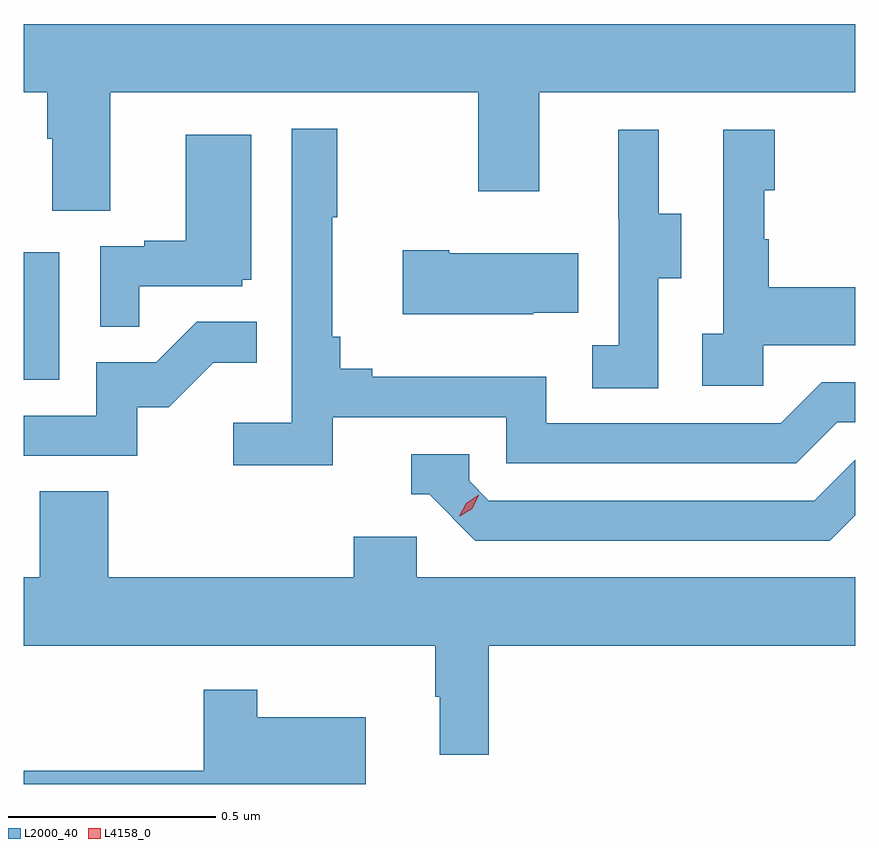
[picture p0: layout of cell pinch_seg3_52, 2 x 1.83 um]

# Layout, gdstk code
import gdstk
lib = gdstk.Library(unit=1e-6, precision=1e-09)
def R(c, l, rs):  # rectangles x0, y0, x1, y1
    for r in rs: c.add(gdstk.rectangle(r[:2], r[2:], *l))
def P(c, l, *ps):  # polygons
    for p in ps: c.add(gdstk.Polygon(p, *l))
L2000_40 = (2000, 40)
L4158_0 = (4158, 0)

pinch_seg3_52 = lib.new_cell('pinch_seg3_52')
R(pinch_seg3_52, L2000_40, [(1069.827,741.516,1069.912,741.823)])
P(pinch_seg3_52, L2000_40, [(1070.035,742.208),(1070.92,742.208),(1070.92,741.969),(1071.067,741.969),(1071.067,742.208),(1071.827,742.208),(1071.827,742.372),(1069.827,742.372),(1069.827,742.208),(1069.883,742.208),(1069.883,742.096),(1069.895,742.096),(1069.895,741.922),(1070.035,741.922)],
  [(1070.57,741.426),(1070.988,741.426),(1070.988,741.315),(1071.685,741.315),(1071.784,741.414),(1071.827,741.414),(1071.827,741.51),(1071.747,741.51),(1071.648,741.411),(1071.084,741.411),(1071.084,741.523),(1070.665,741.523),(1070.665,741.542),(1070.588,741.542),(1070.588,741.619),(1070.569,741.619),(1070.569,741.907),(1070.581,741.907),(1070.581,742.12),(1070.472,742.12),(1070.472,741.412),(1070.331,741.412),(1070.331,741.31),(1070.57,741.31)],
  [(1071.354,741.76),(1071.409,741.76),(1071.409,741.915),(1071.355,741.915),(1071.355,742.117),(1071.257,742.117),(1071.257,741.903),(1071.258,741.903),(1071.258,741.599),(1071.195,741.599),(1071.195,741.496),(1071.354,741.496)],
  [(1071.606,741.599),(1071.827,741.599),(1071.827,741.739),(1071.619,741.739),(1071.619,741.854),(1071.609,741.854),(1071.609,741.972),(1071.634,741.972),(1071.634,742.117),(1071.51,742.117),(1071.51,741.626),(1071.459,741.626),(1071.459,741.501),(1071.606,741.501)],
  [(1070.105,741.741),(1070.352,741.741),(1070.352,741.756),(1070.374,741.756),(1070.374,742.105),(1070.216,742.105),(1070.216,741.85),(1070.117,741.85),(1070.117,741.837),(1070.01,741.837),(1070.01,741.643),(1070.105,741.643)],
  [(1071.053,741.677),(1071.161,741.677),(1071.161,741.82),(1070.851,741.82),(1070.851,741.828),(1070.739,741.828),(1070.739,741.674),(1071.053,741.674)],
  [(1070.1,741.45),(1070.176,741.45),(1070.283,741.557),(1070.387,741.557),(1070.387,741.656),(1070.243,741.656),(1070.145,741.558),(1070.001,741.558),(1070.001,741.429),(1069.827,741.429),(1069.827,741.333),(1070.1,741.333)],
  [(1071.827,741.19),(1071.827,741.323),(1071.729,741.225),(1070.946,741.225),(1070.898,741.273),(1070.898,741.336),(1070.759,741.336),(1070.759,741.24),(1070.802,741.24),(1070.913,741.129),(1071.766,741.129)],
  [(1070.945,740.876),(1071.827,740.876),(1071.827,741.04),(1070.772,741.04),(1070.772,741.138),(1070.621,741.138),(1070.621,741.04),(1070.03,741.04),(1070.03,741.248),(1069.865,741.248),(1069.865,741.04),(1069.827,741.04),(1069.827,740.876),(1070.817,740.876),(1070.817,740.753),(1070.828,740.753),(1070.828,740.613),(1070.945,740.613)],
  [(1070.65,740.704),(1070.389,740.704),(1070.389,740.77),(1070.26,740.77),(1070.26,740.575),(1069.827,740.575),(1069.827,740.543),(1070.65,740.543)])
P(pinch_seg3_52, L4158_0, [(1070.875,741.187),(1070.875,741.187),(1070.891,741.219),(1070.922,741.239),(1070.922,741.239),(1070.922,741.238),(1070.906,741.206),(1070.876,741.187)])

lib.write_gds('pinch_seg3_52.gds')
